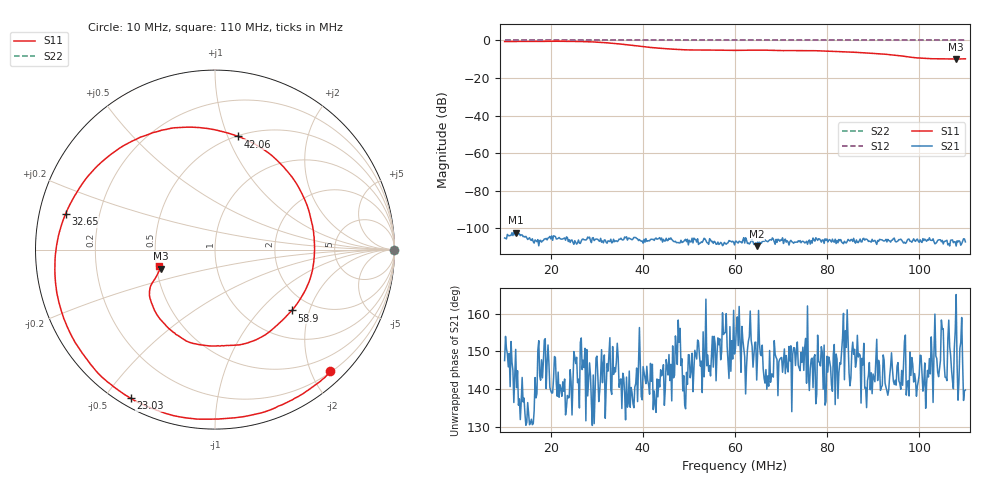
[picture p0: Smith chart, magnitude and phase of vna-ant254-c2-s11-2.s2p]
! Anritsu VNA Master:  Model: MS2034B/10/19/501
! SN:  1337062
! /bd0/ovro-jan-2016/vna-jan/vna-ant254-c2-s11-2.s2p
! Existing Calibration Information:
! TYPE:  Current Settings,  Active Cal Settings
! TIME:  01/13/2016 05:38:21 PM,  01/13/2016 05:04:46 PM
! INTERNAL TEMP:  42.0 C,  41.8 C
! # POINTS:  500,  500
! START FREQ:  10.000 MHz,  10.000 MHz
! STOP FREQ:  110.000 MHz,  110.000 MHz
! SOURCE POWER:  High,  High
! IFBW:  100 Hz,  100 Hz
! AVG FACTOR:  4 ,  4
! REF PLANE 1:  0 mm,  0 mm
! REF PLANE 2:  0 mm,  0 mm
! CAL TYPE:  Full S11,  Full S11
! CAL METHOD:  SOLT,  SOLT
! CAL LINE TYPE:  Coax,  Coax
! DUT PORT 1:  K-Conn(M),  K-Conn(M)
! DUT PORT 2:  N-Conn(M),  N-Conn(M)
! CAL STATUS:  OK: Accuracy High,  --
# GHZ S DB R 50.0
! FREQ.GHZ  S11DB  S11A  S21DB  S21A  S12DB  S12A  S22DB  S22A
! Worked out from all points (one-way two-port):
!   500 points, 10 MHz to 110 MHz, reference 50 ohm
!   highest |S21| = -102.37 dB at 12.4 MHz (marker M1); lowest = -109.6 dB at 64.71 MHz (marker M2)
!   lowest |S11| = -9.9 dB at 108 MHz (marker M3), VSWR 1.95, Z = 26.2 - j6.18 ohm
!   |S11| at or under -10 dB: nowhere
!   |S22| runs from 0.0 to 0.0 dB; largest |S21 - S12| = 1
!   S11 on the Smith chart (normalised r, x): 10 MHz: 0.22, -2.31; 23.03 MHz: 0.03, -0.58; 32.65 MHz: 0.08, +0.12; 42.06 MHz: 0.51, +1.09; 58.9 MHz: 1.59, -1.53; 110 MHz: 0.52, -0.11
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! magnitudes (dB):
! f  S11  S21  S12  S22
! 10 MHz  -0.6  -105.3  0.0  0.0
! 12.4 MHz  -0.5  -102.4  0.0  0.0
! 23.03 MHz  -0.4  -105.3  0.0  0.0
! 26.83 MHz  -0.6  -106.0  0.0  0.0
! 29.64 MHz  -0.8  -106.1  0.0  0.0
! 32.65 MHz  -1.4  -107.0  0.0  0.0
! 42.06 MHz  -3.8  -106.0  0.0  0.0
! 43.47 MHz  -4.1  -105.5  0.0  0.0
! 49.48 MHz  -5.0  -107.2  0.0  0.0
! 58.9 MHz  -5.3  -106.9  0.0  0.0
! 60.1 MHz  -5.3  -107.0  0.0  0.0
! 64.71 MHz  -5.2  -109.6  0.0  0.0
! 70.12 MHz  -5.4  -106.5  0.0  0.0
! 76.73 MHz  -5.4  -108.0  0.0  0.0
! 86.35 MHz  -6.3  -106.3  0.0  0.0
! 91.16 MHz  -7.0  -107.1  0.0  0.0
! 93.37 MHz  -7.5  -106.6  0.0  0.0
! 98.78 MHz  -9.1  -105.7  0.0  0.0
! 100.8 MHz  -9.5  -105.6  0.0  0.0
! 102.8 MHz  -9.7  -106.6  0.0  0.0
! 108 MHz  -9.9  -109.6  0.0  0.0
! 110 MHz  -9.8  -107.3  0.0  0.0
